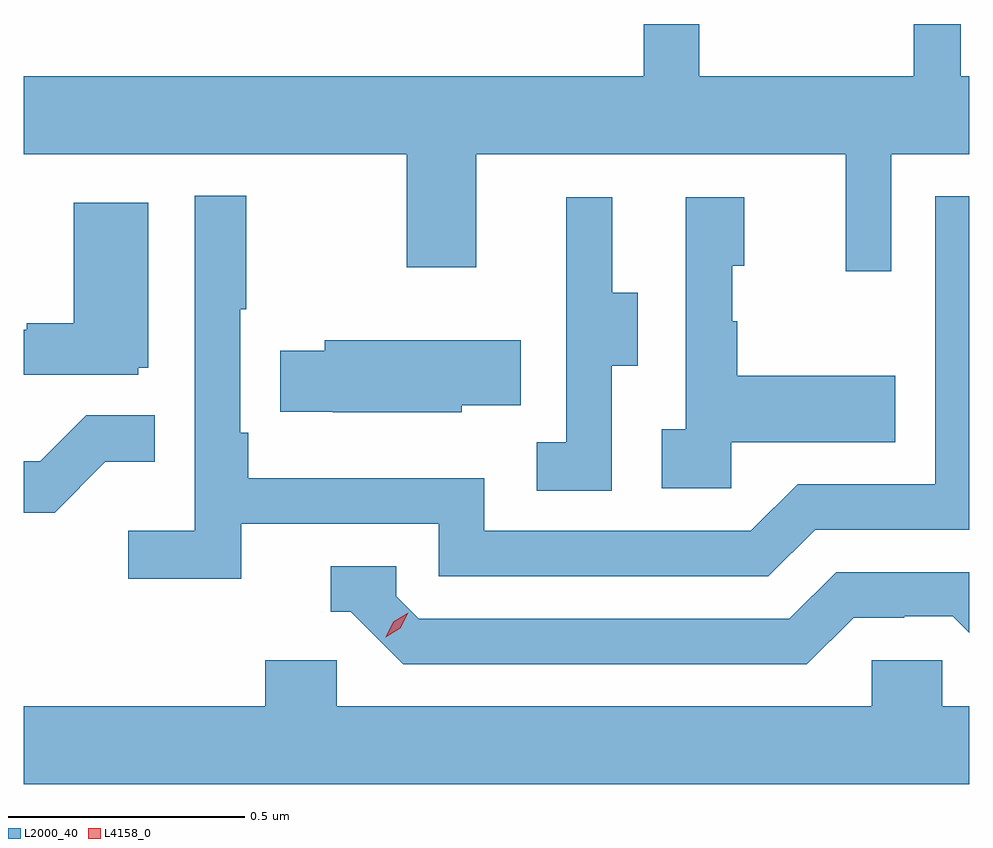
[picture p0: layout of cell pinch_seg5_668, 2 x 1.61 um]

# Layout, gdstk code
import gdstk
lib = gdstk.Library(unit=1e-6, precision=1e-09)
def R(c, l, rs):  # rectangles x0, y0, x1, y1
    for r in rs: c.add(gdstk.rectangle(r[:2], r[2:], *l))
def P(c, l, *ps):  # polygons
    for p in ps: c.add(gdstk.Polygon(p, *l))
L2000_40 = (2000, 40)
L4158_0 = (4158, 0)

pinch_seg5_668 = lib.new_cell('pinch_seg5_668')
R(pinch_seg5_668, L2000_40, [(1063.502,841.05,1063.599,841.051)])
P(pinch_seg5_668, L2000_40, [(1063.325,841.051),(1063.207,841.051),(1063.207,840.94),(1061.896,840.94),(1061.896,840.776),(1062.706,840.776),(1062.706,840.537),(1062.853,840.537),(1062.853,840.776),(1063.634,840.776),(1063.634,840.528),(1063.731,840.528),(1063.731,840.776),(1063.896,840.776),(1063.896,840.94),(1063.878,840.94),(1063.878,841.051),(1063.778,841.051),(1063.778,840.94),(1063.325,840.94)],
  [(1062.356,839.994),(1062.774,839.994),(1062.774,839.883),(1063.471,839.883),(1063.57,839.982),(1063.896,839.982),(1063.896,840.687),(1063.824,840.687),(1063.824,840.078),(1063.533,840.078),(1063.434,839.979),(1062.87,839.979),(1062.87,840.091),(1062.371,840.091),(1062.371,840.187),(1062.354,840.187),(1062.354,840.448),(1062.367,840.448),(1062.367,840.688),(1062.258,840.688),(1062.258,839.98),(1062.117,839.98),(1062.117,839.878),(1062.356,839.878)],
  [(1063.14,840.328),(1063.195,840.328),(1063.195,840.483),(1063.141,840.483),(1063.141,840.685),(1063.043,840.685),(1063.043,840.471),(1063.044,840.471),(1063.044,840.167),(1062.981,840.167),(1062.981,840.064),(1063.14,840.064)],
  [(1063.392,840.167),(1063.739,840.167),(1063.739,840.307),(1063.405,840.307),(1063.405,840.422),(1063.395,840.422),(1063.395,840.54),(1063.42,840.54),(1063.42,840.685),(1063.296,840.685),(1063.296,840.194),(1063.245,840.194),(1063.245,840.069),(1063.392,840.069)],
  [(1062.138,840.324),(1062.16,840.324),(1062.16,840.673),(1062.002,840.673),(1062.002,840.418),(1061.903,840.418),(1061.903,840.405),(1061.896,840.405),(1061.896,840.309),(1062.138,840.309)],
  [(1062.822,840.245),(1062.947,840.245),(1062.947,840.382),(1062.533,840.382),(1062.533,840.36),(1062.439,840.36),(1062.439,840.231),(1062.55,840.231),(1062.55,840.23),(1062.822,840.23)],
  [(1062.069,840.125),(1062.173,840.125),(1062.173,840.224),(1062.029,840.224),(1061.931,840.126),(1061.896,840.126),(1061.896,840.018),(1061.962,840.018)],
  [(1063.651,839.796),(1063.758,839.796),(1063.758,839.799),(1063.861,839.799),(1063.896,839.764),(1063.896,839.892),(1063.614,839.892),(1063.515,839.793),(1062.732,839.793),(1062.684,839.841),(1062.684,839.904),(1062.545,839.904),(1062.545,839.808),(1062.588,839.808),(1062.699,839.697),(1063.552,839.697)],
  [(1063.896,839.608),(1063.839,839.608),(1063.839,839.706),(1063.689,839.706),(1063.689,839.608),(1062.558,839.608),(1062.558,839.706),(1062.407,839.706),(1062.407,839.608),(1061.896,839.608),(1061.896,839.444),(1063.896,839.444)])
P(pinch_seg5_668, L4158_0, [(1062.662,839.754),(1062.662,839.754),(1062.678,839.787),(1062.709,839.806),(1062.709,839.806),(1062.709,839.806),(1062.693,839.773),(1062.662,839.754)])

lib.write_gds('pinch_seg5_668.gds')
